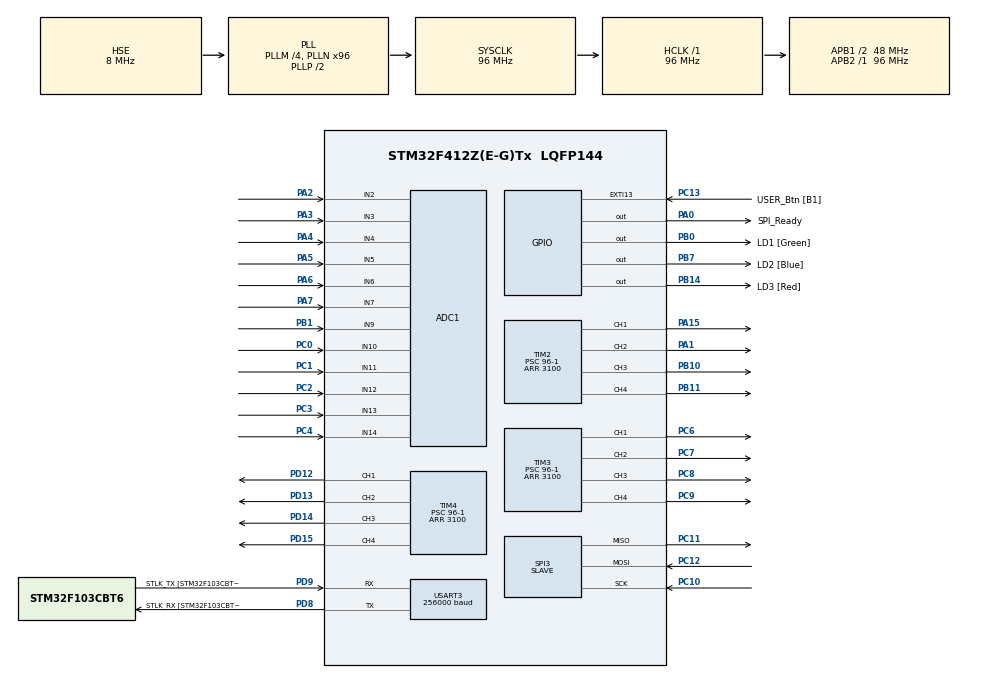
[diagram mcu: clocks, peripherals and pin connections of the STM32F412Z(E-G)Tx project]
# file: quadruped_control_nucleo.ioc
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ADC1.Channel-0\#ChannelRegularConversion=ADC_CHANNEL_4
ADC1.Channel-1\#ChannelRegularConversion=ADC_CHANNEL_13
ADC1.Channel-10\#ChannelRegularConversion=ADC_CHANNEL_12
ADC1.Channel-11\#ChannelRegularConversion=ADC_CHANNEL_9
ADC1.Channel-2\#ChannelRegularConversion=ADC_CHANNEL_2
ADC1.Channel-3\#ChannelRegularConversion=ADC_CHANNEL_11
ADC1.Channel-4\#ChannelRegularConversion=ADC_CHANNEL_14
ADC1.Channel-5\#ChannelRegularConversion=ADC_CHANNEL_7
ADC1.Channel-6\#ChannelRegularConversion=ADC_CHANNEL_5
ADC1.Channel-7\#ChannelRegularConversion=ADC_CHANNEL_6
ADC1.Channel-8\#ChannelRegularConversion=ADC_CHANNEL_10
ADC1.Channel-9\#ChannelRegularConversion=ADC_CHANNEL_3
ADC1.ContinuousConvMode=ENABLE
ADC1.DMAContinuousRequests=ENABLE
ADC1.DataAlign=ADC_DATAALIGN_RIGHT
ADC1.EOCSelection=ADC_EOC_SEQ_CONV
ADC1.NbrOfConversion=12
ADC1.NbrOfConversionFlag=1
ADC1.Rank-0\#ChannelRegularConversion=1
ADC1.Rank-1\#ChannelRegularConversion=2
ADC1.Rank-10\#ChannelRegularConversion=11
ADC1.Rank-11\#ChannelRegularConversion=12
ADC1.Rank-2\#ChannelRegularConversion=3
ADC1.Rank-3\#ChannelRegularConversion=4
ADC1.Rank-4\#ChannelRegularConversion=5
ADC1.Rank-5\#ChannelRegularConversion=6
ADC1.Rank-6\#ChannelRegularConversion=7
ADC1.Rank-7\#ChannelRegularConversion=8
ADC1.Rank-8\#ChannelRegularConversion=9
ADC1.Rank-9\#ChannelRegularConversion=10
ADC1.SamplingTime-0\#ChannelRegularConversion=ADC_SAMPLETIME_84CYCLES
ADC1.SamplingTime-1\#ChannelRegularConversion=ADC_SAMPLETIME_84CYCLES
ADC1.SamplingTime-10\#ChannelRegularConversion=ADC_SAMPLETIME_84CYCLES
ADC1.SamplingTime-11\#ChannelRegularConversion=ADC_SAMPLETIME_84CYCLES
ADC1.SamplingTime-2\#ChannelRegularConversion=ADC_SAMPLETIME_84CYCLES
ADC1.SamplingTime-3\#ChannelRegularConversion=ADC_SAMPLETIME_84CYCLES
ADC1.SamplingTime-4\#ChannelRegularConversion=ADC_SAMPLETIME_84CYCLES
ADC1.SamplingTime-5\#ChannelRegularConversion=ADC_SAMPLETIME_84CYCLES
ADC1.SamplingTime-6\#ChannelRegularConversion=ADC_SAMPLETIME_84CYCLES
ADC1.SamplingTime-7\#ChannelRegularConversion=ADC_SAMPLETIME_84CYCLES
ADC1.SamplingTime-8\#ChannelRegularConversion=ADC_SAMPLETIME_84CYCLES
ADC1.SamplingTime-9\#ChannelRegularConversion=ADC_SAMPLETIME_84CYCLES
ADC1.ScanConvMode=ENABLE
ADC1.master=1
Dma.ADC1.2.Direction=DMA_PERIPH_TO_MEMORY
Dma.ADC1.2.FIFOMode=DMA_FIFOMODE_DISABLE
Dma.ADC1.2.Instance=DMA2_Stream4
Dma.ADC1.2.MemDataAlignment=DMA_MDATAALIGN_HALFWORD
Dma.ADC1.2.MemInc=DMA_MINC_ENABLE
Dma.ADC1.2.Mode=DMA_CIRCULAR
Dma.ADC1.2.PeriphDataAlignment=DMA_PDATAALIGN_HALFWORD
Dma.ADC1.2.PeriphInc=DMA_PINC_DISABLE
Dma.ADC1.2.Priority=DMA_PRIORITY_LOW
Dma.Request0=SPI3_TX
Dma.Request1=SPI3_RX
Dma.Request2=ADC1
Dma.SPI3_RX.1.Direction=DMA_PERIPH_TO_MEMORY
Dma.SPI3_RX.1.FIFOMode=DMA_FIFOMODE_DISABLE
Dma.SPI3_RX.1.Instance=DMA1_Stream2
Dma.SPI3_RX.1.MemDataAlignment=DMA_MDATAALIGN_HALFWORD
Dma.SPI3_RX.1.MemInc=DMA_MINC_ENABLE
Dma.SPI3_RX.1.Mode=DMA_NORMAL
Dma.SPI3_RX.1.PeriphDataAlignment=DMA_PDATAALIGN_HALFWORD
Dma.SPI3_RX.1.PeriphInc=DMA_PINC_DISABLE
Dma.SPI3_RX.1.Priority=DMA_PRIORITY_VERY_HIGH
Dma.SPI3_TX.0.Direction=DMA_MEMORY_TO_PERIPH
Dma.SPI3_TX.0.FIFOMode=DMA_FIFOMODE_DISABLE
Dma.SPI3_TX.0.Instance=DMA1_Stream7
Dma.SPI3_TX.0.MemDataAlignment=DMA_MDATAALIGN_HALFWORD
Dma.SPI3_TX.0.MemInc=DMA_MINC_ENABLE
Dma.SPI3_TX.0.Mode=DMA_NORMAL
Dma.SPI3_TX.0.PeriphDataAlignment=DMA_PDATAALIGN_HALFWORD
Dma.SPI3_TX.0.PeriphInc=DMA_PINC_DISABLE
Dma.SPI3_TX.0.Priority=DMA_PRIORITY_VERY_HIGH
Mcu.Family=STM32F4
Mcu.Name=STM32F412Z(E-G)Tx
Mcu.Package=LQFP144
NVIC.DMA1_Stream2_IRQn=true\:0\:0\:true\:false\:true\:false\:true\:true
NVIC.DMA1_Stream7_IRQn=true\:0\:0\:true\:false\:true\:false\:true\:true
NVIC.DMA2_Stream4_IRQn=true\:2\:0\:true\:false\:true\:false\:true\:true
NVIC.EXTI15_10_IRQn=true\:0\:0\:false\:false\:true\:true\:true\:true
NVIC.PriorityGroup=NVIC_PRIORITYGROUP_4
NVIC.TIM1_BRK_TIM9_IRQn=true\:0\:0\:true\:false\:true\:true\:true\:true
NVIC.TIM5_IRQn=true\:1\:0\:true\:false\:true\:true\:true\:true
PA0.GPIO_Label=SPI_Ready
PA0.Signal=GPIO_Output
PA1.Signal=S_TIM2_CH2
PA13.GPIO_Label=TMS
PA13.Mode=Serial_Wire
PA13.Signal=SYS_JTMS-SWDIO
PA14.GPIO_Label=TCK
PA14.Mode=Serial_Wire
PA14.Signal=SYS_JTCK-SWCLK
PA15.Signal=S_TIM2_CH1_ETR
PA2.Signal=ADCx_IN2
PA3.Signal=ADCx_IN3
PA4.Signal=ADCx_IN4
PA5.Signal=ADCx_IN5
PA6.Signal=ADCx_IN6
PA7.Signal=ADCx_IN7
PB0.GPIO_Label=LD1 [Green]
PB0.Signal=GPIO_Output
PB1.Signal=ADCx_IN9
PB10.Signal=S_TIM2_CH3
PB11.Signal=S_TIM2_CH4
PB14.GPIO_Label=LD3 [Red]
PB14.Signal=GPIO_Output
PB3.GPIO_Label=SWO
PB3.Signal=SYS_JTDO-SWO
PB7.GPIO_Label=LD2 [Blue]
PB7.Signal=GPIO_Output
PC0.Signal=ADCx_IN10
PC1.Signal=ADCx_IN11
PC10.Mode=Full_Duplex_Slave
PC10.Signal=SPI3_SCK
PC11.Mode=Full_Duplex_Slave
PC11.Signal=SPI3_MISO
PC12.Mode=Full_Duplex_Slave
PC12.Signal=SPI3_MOSI
PC13.GPIO_Label=USER_Btn [B1]
PC13.Signal=GPXTI13
PC14-OSC32_IN.Mode=LSE-External-Oscillator
PC14-OSC32_IN.Signal=RCC_OSC32_IN
PC15-OSC32_OUT.Mode=LSE-External-Oscillator
PC15-OSC32_OUT.Signal=RCC_OSC32_OUT
PC2.Signal=ADCx_IN12
PC3.Signal=ADCx_IN13
PC4.Signal=ADCx_IN14
PC6.Signal=S_TIM3_CH1
PC7.Signal=S_TIM3_CH2
PC8.Signal=S_TIM3_CH3
PC9.Signal=S_TIM3_CH4
PD12.Signal=S_TIM4_CH1
PD13.Signal=S_TIM4_CH2
PD14.Signal=S_TIM4_CH3
PD15.Signal=S_TIM4_CH4
PD8.GPIO_Label=STLK_RX [STM32F103CBT6_PA3]
PD8.Mode=Asynchronous
PD8.Signal=USART3_TX
PD9.GPIO_Label=STLK_TX [STM32F103CBT6_PA2]
PD9.Mode=Asynchronous
PD9.Signal=USART3_RX
PH0\ -\ OSC_IN.GPIO_Label=MCO
PH0\ -\ OSC_IN.Mode=HSE-External-Clock-Source
PH0\ -\ OSC_IN.Signal=RCC_OSC_IN
PH1\ -\ OSC_OUT.Mode=HSE-External-Clock-Source
PH1\ -\ OSC_OUT.Signal=RCC_OSC_OUT
ProjectManager.HeapSize=0x2EE0
ProjectManager.StackSize=0x400
ProjectManager.TargetToolchain=Makefile
RCC.48MHZClocksFreq_Value=24000000
RCC.AHBFreq_Value=96000000
RCC.APB1CLKDivider=RCC_HCLK_DIV2
RCC.APB1Freq_Value=48000000
RCC.APB1TimFreq_Value=96000000
RCC.APB2Freq_Value=96000000
RCC.APB2TimFreq_Value=96000000
RCC.CortexFreq_Value=96000000
RCC.HCLKFreq_Value=96000000
RCC.HSE_VALUE=8000000
RCC.HSI_VALUE=16000000
RCC.PLLM=4
RCC.PLLMUL=RCC_PLL_MUL9
RCC.PLLN=96
RCC.PLLQ=4
RCC.PLLSourceVirtual=RCC_PLLSOURCE_HSE
RCC.PRESCALERUSB=RCC_USBCLKSOURCE_PLL_DIV1_5
RCC.SYSCLKFreq_VALUE=96000000
RCC.SYSCLKSource=RCC_SYSCLKSOURCE_PLLCLK
RCC.SYSCLKSourceVirtual=RCC_SYSCLKSOURCE_PLLCLK
RCC.USBFreq_Value=48000000
RCC.VCOOutputFreq_Value=192000000
SH.ADCx_IN10.0=ADC1_IN10,IN10
SH.ADCx_IN11.0=ADC1_IN11,IN11
SH.ADCx_IN12.0=ADC1_IN12,IN12
SH.ADCx_IN13.0=ADC1_IN13,IN13
SH.ADCx_IN14.0=ADC1_IN14,IN14
SH.ADCx_IN2.0=ADC1_IN2,IN2
SH.ADCx_IN3.0=ADC1_IN3,IN3
SH.ADCx_IN4.0=ADC1_IN4,IN4
SH.ADCx_IN5.0=ADC1_IN5,IN5
SH.ADCx_IN6.0=ADC1_IN6,IN6
SH.ADCx_IN7.0=ADC1_IN7,IN7
SH.ADCx_IN9.0=ADC1_IN9,IN9
SH.S_TIM2_CH1_ETR.0=TIM2_CH1,PWM Generation1 CH1
SH.S_TIM2_CH2.0=TIM2_CH2,PWM Generation2 CH2
SH.S_TIM2_CH3.0=TIM2_CH3,PWM Generation3 CH3
SH.S_TIM2_CH4.0=TIM2_CH4,PWM Generation4 CH4
SH.S_TIM3_CH1.0=TIM3_CH1,PWM Generation1 CH1
SH.S_TIM3_CH2.0=TIM3_CH2,PWM Generation2 CH2
SH.S_TIM3_CH3.0=TIM3_CH3,PWM Generation3 CH3
SH.S_TIM3_CH4.0=TIM3_CH4,PWM Generation4 CH4
SH.S_TIM4_CH1.0=TIM4_CH1,PWM Generation1 CH1
SH.S_TIM4_CH2.0=TIM4_CH2,PWM Generation2 CH2
SH.S_TIM4_CH3.0=TIM4_CH3,PWM Generation3 CH3
SH.S_TIM4_CH4.0=TIM4_CH4,PWM Generation4 CH4
SPI3.DataSize=SPI_DATASIZE_16BIT
SPI3.Direction=SPI_DIRECTION_2LINES
SPI3.Mode=SPI_MODE_SLAVE
SPI3.VirtualType=VM_SLAVE
TIM2.AutoReloadPreload=TIM_AUTORELOAD_PRELOAD_ENABLE
TIM2.Channel-PWM\ Generation1\ CH1=TIM_CHANNEL_1
TIM2.Channel-PWM\ Generation2\ CH2=TIM_CHANNEL_2
TIM2.Channel-PWM\ Generation3\ CH3=TIM_CHANNEL_3
TIM2.Channel-PWM\ Generation4\ CH4=TIM_CHANNEL_4
TIM2.OCFastMode_PWM-PWM\ Generation1\ CH1=TIM_OCFAST_ENABLE
TIM2.OCFastMode_PWM-PWM\ Generation2\ CH2=TIM_OCFAST_ENABLE
TIM2.OCFastMode_PWM-PWM\ Generation3\ CH3=TIM_OCFAST_ENABLE
TIM2.OCFastMode_PWM-PWM\ Generation4\ CH4=TIM_OCFAST_ENABLE
TIM2.Period=3100
TIM2.Prescaler=96-1
TIM2.Pulse-PWM\ Generation1\ CH1=0
TIM3.AutoReloadPreload=TIM_AUTORELOAD_PRELOAD_ENABLE
TIM3.Channel-PWM\ Generation1\ CH1=TIM_CHANNEL_1
TIM3.Channel-PWM\ Generation2\ CH2=TIM_CHANNEL_2
TIM3.Channel-PWM\ Generation3\ CH3=TIM_CHANNEL_3
TIM3.Channel-PWM\ Generation4\ CH4=TIM_CHANNEL_4
TIM3.OCFastMode_PWM-PWM\ Generation1\ CH1=TIM_OCFAST_ENABLE
TIM3.OCFastMode_PWM-PWM\ Generation2\ CH2=TIM_OCFAST_ENABLE
TIM3.OCFastMode_PWM-PWM\ Generation3\ CH3=TIM_OCFAST_ENABLE
TIM3.OCFastMode_PWM-PWM\ Generation4\ CH4=TIM_OCFAST_ENABLE
TIM3.Period=3100
TIM3.Prescaler=96-1
TIM4.AutoReloadPreload=TIM_AUTORELOAD_PRELOAD_ENABLE
TIM4.Channel-PWM\ Generation1\ CH1=TIM_CHANNEL_1
TIM4.Channel-PWM\ Generation2\ CH2=TIM_CHANNEL_2
TIM4.Channel-PWM\ Generation3\ CH3=TIM_CHANNEL_3
TIM4.Channel-PWM\ Generation4\ CH4=TIM_CHANNEL_4
TIM4.OCFastMode_PWM-PWM\ Generation1\ CH1=TIM_OCFAST_ENABLE
TIM4.OCFastMode_PWM-PWM\ Generation2\ CH2=TIM_OCFAST_ENABLE
TIM4.OCFastMode_PWM-PWM\ Generation3\ CH3=TIM_OCFAST_ENABLE
TIM4.OCFastMode_PWM-PWM\ Generation4\ CH4=TIM_OCFAST_ENABLE
TIM4.Period=3100
TIM4.Prescaler=96-1
TIM5.Period=500
TIM5.Prescaler=96-1
TIM9.Period=10000
TIM9.Prescaler=96-1
USART3.BaudRate=256000
USART3.VirtualMode=VM_ASYNC
VP_TIM2_VS_ClockSourceINT.Mode=Internal
VP_TIM3_VS_ClockSourceINT.Mode=Internal
VP_TIM4_VS_ClockSourceINT.Mode=Internal
VP_TIM5_VS_ClockSourceINT.Mode=Internal
VP_TIM9_VS_ClockSourceINT.Mode=Internal
board=NUCLEO-F412ZG

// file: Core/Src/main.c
/* USER CODE BEGIN Header */
/**
 ******************************************************************************
 * @file           : main.c
 * @brief          : Main program body
 ******************************************************************************
 * @attention
 *
 * Copyright (c) 2024 STMicroelectronics.
 * All rights reserved.
 *
 * This software is licensed under terms that can be found in the LICENSE file
 * in the root directory of this software component.
 * If no LICENSE file comes with this software, it is provided AS-IS.
 *
 ******************************************************************************
 */
/* USER CODE END Header */
#include "main.h"
#include "adc.h"
#include "dma.h"
#include "spi.h"
#include "tim.h"
#include "usart.h"
#include "gpio.h"

/* USER CODE BEGIN Includes */
#include "arm_math.h"
#include <math.h>
#include <string.h>

#include "conversions.h"
#include "state_machines.h"
#include "signal_processing.h"

/* USER CODE END Includes */

/* USER CODE BEGIN PV */
// For tx floats under UART (Serial plot)
typedef union float2byte
{
  float angle;
  uint8_t angle_bytes[4];
} float2byte;

float2byte uart_conv_1;
float2byte uart_conv_2;
float2byte uart_conv_3;
float2byte uart_conv_4;

//Median filter
volatile float32_t filter_in_arm_angle[12];
volatile float32_t median_filteredValue[JOINTS];
volatile spMedianFilter median_filter[JOINTS];

//SPI
volatile uint8_t spi_rx_cplt = 0;

// Buffer rx SPI
volatile float32_t target_joint[12] ={MID_POINT_BFR, MID_POINT_BBR, MID_POINT_BBL, MID_POINT_TFR, MID_POINT_FFR, MID_POINT_BFL, MID_POINT_FFL, MID_POINT_TFL, MID_POINT_FBL, MID_POINT_TBL, MID_POINT_TBR, MID_POINT_FBR};

// PID Variables
volatile float32_t error = 0;
volatile float32_t previous_error[JOINTS] = {0, 0, 0, 0, 0, 0, 0, 0, 0, 0, 0, 0};
volatile float32_t control_signal = 0;
volatile float32_t error_acum[JOINTS] = {0, 0, 0, 0, 0, 0, 0, 0, 0, 0, 0, 0};
volatile float32_t error_dif = 0;
volatile uint16_t pwm_pid_out[JOINTS] = {0, 0, 0, 0, 0, 0, 0, 0, 0, 0, 0, 0};

// PID constants
const float32_t kp[JOINTS] = {0.5,0.5,0.5,0.5,0.5,0.5,0.5,0.5,0.5,0.5,0.5,0.5};
const float32_t kd[JOINTS] = {0,0,0,0,0,0,0,0,0,0,0,0};
const float32_t ki[JOINTS] = {0.1,0.1,0.1,0.1,0.1,0.1,0.1,0.1,0.1,0.1,0.1,0.1};

// Offset of each joint
const float32_t mid_point_joints[12] = {MID_POINT_BFR, MID_POINT_BBR, MID_POINT_BBL, MID_POINT_TFR, MID_POINT_FFR, MID_POINT_BFL, MID_POINT_FFL, MID_POINT_TFL, MID_POINT_FBL, MID_POINT_TBL, MID_POINT_TBR, MID_POINT_FBR};

// Global Flags for state machines
volatile uint8_t up_down_vector[JOINTS] = {0, 0, 0, 0, 0, 0, 0, 0, 0, 0, 0, 0}; // To know if the servos have to go up or down: 1 is up, 0 is down

// Arrays used to set the pwm of each servo in a for loop
TIM_HandleTypeDef* htim[3];
uint32_t channel[4] = {TIM_CHANNEL_1, TIM_CHANNEL_2, TIM_CHANNEL_3, TIM_CHANNEL_4};

const float32_t joint_range[12][2] = {{BODY_RANGE_MIN, BODY_RANGE_MAX},
                                    {-BODY_RANGE_MAX, -BODY_RANGE_MIN},
                                    {-BODY_RANGE_MAX, -BODY_RANGE_MIN},
                                    {TIBIA_RANGE_MIN, TIBIA_RANGE_MAX},
                                    {FEMUR_RANGE_MIN, FEMUR_RANGE_MAX},
                                    {BODY_RANGE_MIN, BODY_RANGE_MAX},
                                    {-FEMUR_RANGE_MAX, -FEMUR_RANGE_MIN},
                                    {-TIBIA_RANGE_MAX, -TIBIA_RANGE_MIN},
                                    {-FEMUR_RANGE_MAX, -FEMUR_RANGE_MIN},
                                    {-TIBIA_RANGE_MAX, -TIBIA_RANGE_MIN},
                                    {TIBIA_RANGE_MIN, TIBIA_RANGE_MAX},
                                    {FEMUR_RANGE_MIN, FEMUR_RANGE_MAX}};

const float32_t test_joint_values[12][3] = {
  {BODY_RANGE_MIN + 5, BODY_RANGE_MAX - 5, 0},
  {-(BODY_RANGE_MIN + 5), -(BODY_RANGE_MAX - 5), 0},
  {-(BODY_RANGE_MIN + 5), -(BODY_RANGE_MAX - 5), 0},
  {TIBIA_RANGE_MIN + 5, TIBIA_RANGE_MAX - 5, 0},
  {FEMUR_RANGE_MIN + 5, FEMUR_RANGE_MAX - 5, 0},
  {BODY_RANGE_MIN + 5, BODY_RANGE_MAX - 5, 0},
  {-(FEMUR_RANGE_MIN + 5), -(FEMUR_RANGE_MAX - 5), 0},
  {-(TIBIA_RANGE_MIN + 5), -(TIBIA_RANGE_MAX - 5), 0},
  {-(FEMUR_RANGE_MIN + 5), -(FEMUR_RANGE_MAX - 5), 0},
  {-(TIBIA_RANGE_MIN + 5), -(TIBIA_RANGE_MAX - 5), 0},
  {TIBIA_RANGE_MIN + 5, TIBIA_RANGE_MAX - 5, 0},
  {FEMUR_RANGE_MIN + 5, FEMUR_RANGE_MAX - 5, 0}
};

volatile uint16_t raw_angle_ADC[2][12] = {}; // ADC measurement with DMA

volatile uint8_t current_dma_buff = 0;

// Ticks of timer
volatile uint8_t pid_sample = 0;
volatile uint8_t send_uart = 0;
volatile uint16_t timeout = 0;
volatile uint16_t time_debounce = 0;  //To debounce user button
volatile uint16_t test_step_time = 0;

// Init program at reset with user button
volatile uint8_t init_nucleo = 0;

/////////////////////////////

volatile float32_t joint_angle[JOINTS] = {0, 0, 0, 0, 0, 0, 0, 0, 0, 0, 0, 0};

volatile uint8_t uart_tx_buffer[UART_BYTES_PER_JOINT * JOINTS + UART_SOF_SIZE];

volatile int8_t step_complete = 1;           // returned by State_Machine_Actuation

/* USER CODE END PV */

void SystemClock_Config(void);
/* USER CODE BEGIN PFP */

void move_servos(uint8_t joint, uint16_t ton);
/* USER CODE END PFP */

int main(void)
{

  /* USER CODE BEGIN 1 */
  uint8_t joint;
  /* USER CODE END 1 */

  /* MCU Configuration--------------------------------------------------------*/

  /* Reset of all peripherals, Initializes the Flash interface and the Systick. */
  HAL_Init();

  /* Configure the system clock */
  SystemClock_Config();

  /* Initialize all configured peripherals */
  MX_GPIO_Init();
  MX_DMA_Init();
  MX_TIM2_Init();
  MX_USART3_UART_Init();
  MX_ADC1_Init();
  MX_TIM3_Init();
  MX_TIM4_Init();
  MX_SPI3_Init();
  MX_TIM5_Init();
  MX_TIM9_Init();
  /* USER CODE BEGIN 2 */

  HAL_TIM_Base_Start(&htim2);
  HAL_TIM_Base_Start(&htim2);
  HAL_TIM_PWM_Start(&htim2, TIM_CHANNEL_1);
  HAL_TIM_PWM_Start(&htim2, TIM_CHANNEL_2);
  HAL_TIM_PWM_Start(&htim2, TIM_CHANNEL_3);
  HAL_TIM_PWM_Start(&htim2, TIM_CHANNEL_4);

  HAL_TIM_Base_Start(&htim3);
  HAL_TIM_PWM_Start(&htim3, TIM_CHANNEL_1);
  HAL_TIM_PWM_Start(&htim3, TIM_CHANNEL_2);
  HAL_TIM_PWM_Start(&htim3, TIM_CHANNEL_3);
  HAL_TIM_PWM_Start(&htim3, TIM_CHANNEL_4);

  HAL_TIM_Base_Start(&htim4);
  HAL_TIM_PWM_Start(&htim4, TIM_CHANNEL_1);
  HAL_TIM_PWM_Start(&htim4, TIM_CHANNEL_2);
  HAL_TIM_PWM_Start(&htim4, TIM_CHANNEL_3);
  HAL_TIM_PWM_Start(&htim4, TIM_CHANNEL_4);

  for (joint = 0; joint < JOINTS; joint++)
  {
		median_filter[joint] = spCreateMedianFilter(WINDOW_SIZE);
		pwm_pid_out[joint] = angle2ton_us(mid_point_joints[joint]);
  }

  while (HAL_ADC_Start_DMA(&hadc1, (uint32_t *)raw_angle_ADC, 12 * 2) == HAL_BUSY);

  // Initialize htim vector used to set pwm in for loops
  htim[0] = &htim2;
  htim[1] = &htim3;
  htim[2] = &htim4;

  /* USER CODE END 2 */

  /* Infinite loop */
  /* USER CODE BEGIN WHILE */

  // Main state
  uart_tx_buffer[0] = 0xAE;
  uart_tx_buffer[1] = 0xAE;

  while(init_nucleo == 0) HAL_Delay(10);

  // Joints set to default initial angle
  for (uint8_t joint = 0; joint < JOINTS; joint++)
  {
    move_servos(joint, angle2ton_us(mid_point_joints[joint]));
  }

  HAL_Delay(5000);

  while (HAL_TIM_Base_Start_IT(&htim5) == HAL_BUSY);

  while (HAL_TIM_Base_Start_IT(&htim9) == HAL_BUSY);

  while (1)
  {
    //memcpy(dummy1, &raw_angle_ADC[buffer_to_copy][0], sizeof(dummy1));

    //Serial Plot
    if (send_uart)
    {
      for (int i = 0; i < JOINTS; i++)
      {
				uart_conv_1.angle = target_joint[i];
        // uart_conv_2.angle = adc2angle(median_filteredValue[i], up_down_vector[i], i);
				// uart_conv_2.angle = adc2angle(filter_in_arm_angle[i], up_down_vector[i], i);
        // uart_conv_2.angle = ton_us2angle(pwm_pid_out[i]);
				// uart_conv_3.angle = error_acum[i];
        uart_conv_2.angle = joint_angle[i];

        uart_tx_buffer[UART_BYTES_PER_JOINT * i + 2] = uart_conv_1.angle_bytes[3];
        uart_tx_buffer[UART_BYTES_PER_JOINT * i + 3] = uart_conv_1.angle_bytes[2];
        uart_tx_buffer[UART_BYTES_PER_JOINT * i + 4] = uart_conv_1.angle_bytes[1];
        uart_tx_buffer[UART_BYTES_PER_JOINT * i + 5] = uart_conv_1.angle_bytes[0];

        uart_tx_buffer[UART_BYTES_PER_JOINT * i + 6] = uart_conv_2.angle_bytes[3];
        uart_tx_buffer[UART_BYTES_PER_JOINT * i + 7] = uart_conv_2.angle_bytes[2];
        uart_tx_buffer[UART_BYTES_PER_JOINT * i + 8] = uart_conv_2.angle_bytes[1];
        uart_tx_buffer[UART_BYTES_PER_JOINT * i + 9] = uart_conv_2.angle_bytes[0];

				// uart_tx_buffer[UART_BYTES_PER_JOINT * i + 10] = uart_conv_3.angle_bytes[3];
        // uart_tx_buffer[UART_BYTES_PER_JOINT * i + 11] = uart_conv_3.angle_bytes[2];
        // uart_tx_buffer[UART_BYTES_PER_JOINT * i + 12] = uart_conv_3.angle_bytes[1];
        // uart_tx_buffer[UART_BYTES_PER_JOINT * i + 13] = uart_conv_3.angle_bytes[0];

				// uart_tx_buffer[UART_BYTES_PER_JOINT * i + 14] = uart_conv_4.angle_bytes[3];
        // uart_tx_buffer[UART_BYTES_PER_JOINT * i + 15] = uart_conv_4.angle_bytes[2];
        // uart_tx_buffer[UART_BYTES_PER_JOINT * i + 16] = uart_conv_4.angle_bytes[1];
        // uart_tx_buffer[UART_BYTES_PER_JOINT * i + 17] = uart_conv_4.angle_bytes[0];
      }
		  HAL_UART_Transmit(&huart3, (const uint8_t*) uart_tx_buffer, UART_BYTES_PER_JOINT * JOINTS + UART_SOF_SIZE, HAL_MAX_DELAY);

      send_uart = 0;
    }

    // HAL_Delay(1000); // Adjust delay as necessary

    State_Machine_Control();
  }

    /* USER CODE END WHILE */

}

void SystemClock_Config(void)
{
  RCC_OscInitTypeDef RCC_OscInitStruct = {0};
  RCC_ClkInitTypeDef RCC_ClkInitStruct = {0};

  /** Configure the main internal regulator output voltage
  */
  __HAL_RCC_PWR_CLK_ENABLE();
  __HAL_PWR_VOLTAGESCALING_CONFIG(PWR_REGULATOR_VOLTAGE_SCALE1);

  /** Initializes the RCC Oscillators according to the specified parameters
  * in the RCC_OscInitTypeDef structure.
  */
  RCC_OscInitStruct.OscillatorType = RCC_OSCILLATORTYPE_HSE;
  RCC_OscInitStruct.HSEState = RCC_HSE_BYPASS;
  RCC_OscInitStruct.PLL.PLLState = RCC_PLL_ON;
  RCC_OscInitStruct.PLL.PLLSource = RCC_PLLSOURCE_HSE;
  RCC_OscInitStruct.PLL.PLLM = 4;
  RCC_OscInitStruct.PLL.PLLN = 96;
  RCC_OscInitStruct.PLL.PLLP = RCC_PLLP_DIV2;
  RCC_OscInitStruct.PLL.PLLQ = 4;
  RCC_OscInitStruct.PLL.PLLR = 2;
  if (HAL_RCC_OscConfig(&RCC_OscInitStruct) != HAL_OK)
  {
    Error_Handler();
  }

  /** Initializes the CPU, AHB and APB buses clocks
  */
  RCC_ClkInitStruct.ClockType = RCC_CLOCKTYPE_HCLK|RCC_CLOCKTYPE_SYSCLK
                              |RCC_CLOCKTYPE_PCLK1|RCC_CLOCKTYPE_PCLK2;
  RCC_ClkInitStruct.SYSCLKSource = RCC_SYSCLKSOURCE_PLLCLK;
  RCC_ClkInitStruct.AHBCLKDivider = RCC_SYSCLK_DIV1;
  RCC_ClkInitStruct.APB1CLKDivider = RCC_HCLK_DIV2;
  RCC_ClkInitStruct.APB2CLKDivider = RCC_HCLK_DIV1;

  if (HAL_RCC_ClockConfig(&RCC_ClkInitStruct, FLASH_LATENCY_3) != HAL_OK)
  {
    Error_Handler();
  }
}

/* USER CODE BEGIN 4 */

void HAL_ADC_ConvHalfCpltCallback(ADC_HandleTypeDef *hadc)
{
  current_dma_buff = 0;
}

void HAL_ADC_ConvCpltCallback(ADC_HandleTypeDef *hadc)
{
  current_dma_buff = 1;
}

void HAL_SPI_RxCpltCallback(SPI_HandleTypeDef *hspi)
{
  if(hspi == &hspi3)
  {
    spi_rx_cplt = 1;
  }
}

void HAL_GPIO_EXTI_Callback(uint16_t GPIO_Pin)
{
	if(GPIO_Pin == USER_Btn_Pin && init_nucleo == 0)
	{
		init_nucleo = 1;
    time_debounce = ONE_SECOND;
	}else if(GPIO_Pin == USER_Btn_Pin && init_nucleo == 1 && time_debounce == 0)
  {
    step_complete = 1;  //disable PID

		for (uint8_t joint = 0; joint < JOINTS; joint++)

			__HAL_TIM_SET_COMPARE(htim[joint / 4], channel[joint % 4], angle2ton_us(mid_point_joints[joint]));

		HAL_Delay(1000);  //Delay to ignore bouncing of user button, and establish the default position before reset

		//Turn off pwm without interrupting ton.
		for(uint8_t i= 0; i<JOINTS;i++)
		{
			//wait for ton to finish
			while(__HAL_TIM_GET_COUNTER(htim[i / 4]) < __HAL_TIM_GET_COMPARE(htim[i / 4], channel[i % 4]));

			HAL_TIM_PWM_Stop(htim[i / 4], channel[i % 4]);
		}

		HAL_NVIC_SystemReset();
  }
}

static inline void pid(uint8_t joint)
{
  if (step_complete == 0)
  {
    error = target_joint[joint] - joint_angle[joint];
    error_acum[joint] += error * TIM9_TICK;
    error_dif = (error - previous_error[joint]) / TIM9_TICK; //(divido tick de tim9)

    previous_error[joint] = error;

    control_signal = kp[joint] * error + ki[joint] * error_acum[joint] + kd[joint] * error_dif; //Delta_angle
    up_down_vector[joint] = control_signal > 0;

    pwm_pid_out[joint] = pwm_pid_out[joint] + __round_int(control_signal);

    move_servos(joint, pwm_pid_out[joint]);
  }
}

void HAL_TIM_PeriodElapsedCallback(TIM_HandleTypeDef *timer)
{
  uint8_t joint;
  uint8_t freezed_dma_index;

  if (timer == &htim5)
  {
    if (timeout > 0)
      timeout--;

    if (time_debounce > 0)
      time_debounce--;

    // Copy the contents from the ping pong dma buffer to a stable buffer
    // - current_dma_buff selects the half of the buffer most recently completed (the other is being used)
    // - first keep the current_dma_buff index freezed until the end of the copy:
    freezed_dma_index = current_dma_buff;

    for (joint = 0; joint < 12; joint++)
      filter_in_arm_angle[joint] = raw_angle_ADC[freezed_dma_index][joint];

    // With the contents copied, apply the median filter
    for (joint = 0; joint < 12; joint++)
			median_filteredValue[joint] = spMedianFilterInsert(median_filter[joint], filter_in_arm_angle[joint]);
  }

  if (timer == &htim9)
  {
    if(test_step_time > 0)
      test_step_time--;

		// Move servos
		for (joint = 0; joint < 12; joint++)
		{

      // Convert the adc values to angles with the calibration tables
			joint_angle[joint] = adc2angle(median_filteredValue[joint], up_down_vector[joint], joint);

      // Apply the PID controller, and with the final pwm value move the servomotors
			pid(joint);

		}
    pid_sample = 1;
    send_uart = 1;
	}
}

void move_servos(uint8_t joint, uint16_t ton)
{
  //If ton is below min range, move to min range
  if(ton_us2angle(ton) < (mid_point_joints[joint] + joint_range[joint][0]))
    ton = angle2ton_us(mid_point_joints[joint] + joint_range[joint][0]);

  //If ton is above max range, move to max range
  else if(ton_us2angle(ton) > (mid_point_joints[joint] + joint_range[joint][1]))
    ton = angle2ton_us(mid_point_joints[joint] + joint_range[joint][1]);

  __HAL_TIM_SET_COMPARE(htim[joint / 4], channel[joint % 4], ton);
}

/* USER CODE END 4 */

void Error_Handler(void)
{
  __disable_irq();
  while (1)
  {
  }
}
